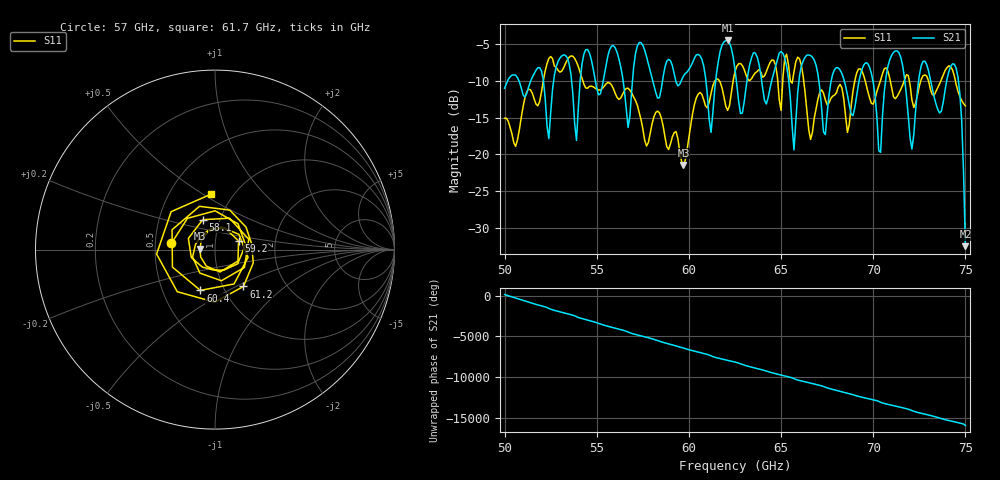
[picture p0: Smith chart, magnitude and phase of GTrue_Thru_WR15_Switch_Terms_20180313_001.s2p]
# GHz S RI R 50
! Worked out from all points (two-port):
!   251 points, 50 GHz to 75 GHz, reference 50 ohm
!   highest |S21| = -4.50 dB at 62.1 GHz (marker M1); lowest = -32.5 dB at 75 GHz (marker M2)
!   |S21| within 3 dB of the highest: 55.53 GHz to 56.25 GHz (716.4 MHz wide, 1.28 % of centre); 61.59 GHz to 62.44 GHz (859.4 MHz wide, 1.39 % of centre)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
!   lowest |S11| = -21.5 dB at 59.7 GHz (marker M3), VSWR 1.18, Z = 42.2 + j0.372 ohm
!   |S11| at or under -10 dB: start of sweep to 52.1 GHz; 54.24 GHz to 61.41 GHz (7.171 GHz wide, 12.4 % of centre); 66.23 GHz to 69 GHz (2.771 GHz wide, 4.1 % of centre)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
!   S12 and S22 are empty: the file has one direction only
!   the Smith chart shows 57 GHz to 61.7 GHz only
!   S11 on the Smith chart (normalised r, x): 57 GHz: 0.61, +0.04; 58.1 GHz: 0.83, +0.29; 59.2 GHz: 1.30, +0.13; 60.4 GHz: 0.77, -0.37; 61.2 GHz: 1.24, -0.55; 61.7 GHz: 0.79, +0.54
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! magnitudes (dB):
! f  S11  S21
! 50 GHz  -15.1  -11.0
! 53.3 GHz  -7.7  -6.5
! 53.9 GHz  -7.4  -18.1
! 54.2 GHz  -9.7  -7.7
! 57 GHz  -12.2  -8.2
! 58.1 GHz  -14.9  -10.6
! 58.4 GHz  -14.4  -12.3
! 59.2 GHz  -17.1  -9.0
! 59.7 GHz  -21.5  -9.4
! 60.4 GHz  -12.3  -6.5
! 61.2 GHz  -11.7  -17.0
! 61.7 GHz  -10.2  -5.9
! 62.1 GHz  -14.0  -4.5
! 62.5 GHz  -8.7  -8.4
! 65.1 GHz  -9.6  -6.3
! 65.7 GHz  -8.8  -19.4
! 66.7 GHz  -17.0  -6.8
! 70.4 GHz  -9.9  -19.7
! 70.9 GHz  -9.7  -7.1
! 72.1 GHz  -12.6  -19.3
! 74.5 GHz  -10.5  -8.3
! 75 GHz  -13.4  -32.5
